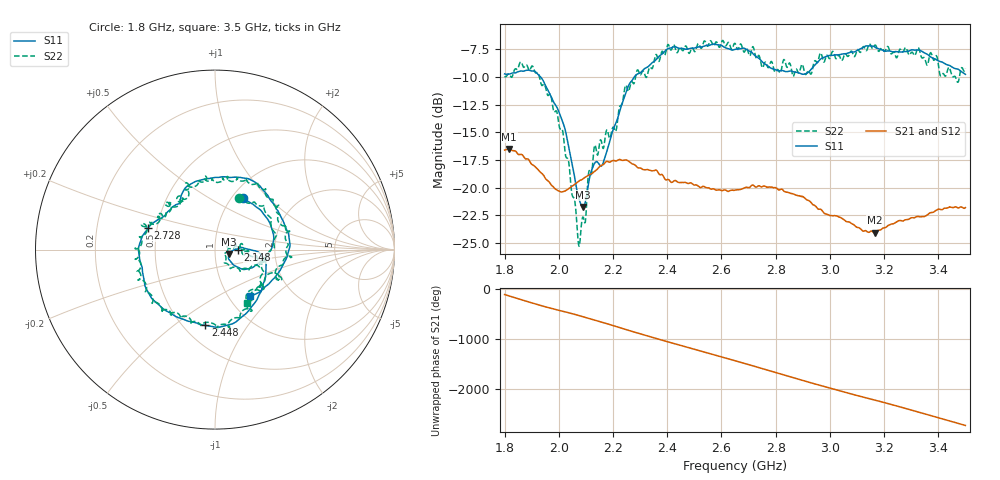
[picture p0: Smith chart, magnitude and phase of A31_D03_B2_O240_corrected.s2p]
! Created with skrf 1.9.0 (http://scikit-rf.org).
# Hz S RI R 50.0
!freq ReS11 ImS11 ReS21 ImS21 ReS12 ImS12 ReS22 ImS22
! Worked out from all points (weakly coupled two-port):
!   1601 points, 1.8 GHz to 3.5 GHz, reference 50 ohm
!   highest |S21| = -16.51 dB at 1.817 GHz (marker M1); lowest = -24.0 dB at 3.165 GHz (marker M2)
!   lowest |S11| = -21.7 dB at 2.09 GHz (marker M3), VSWR 1.18, Z = 58.4 - j2.79 ohm
!   |S11| at or under -10 dB: 1.933 GHz to 2.279 GHz (346.2 MHz wide, 16.4 % of centre)
!   |S22| runs from -25.3 to -6.7 dB; largest |S21 - S12| = 0.0026
!   S11 on the Smith chart (normalised r, x): 1.8 GHz: 1.12, +0.72; 2.148 GHz: 1.29, -0.00; 2.448 GHz: 0.63, -0.65; 2.728 GHz: 0.45, +0.13; 3.5 GHz: 1.25, -0.73
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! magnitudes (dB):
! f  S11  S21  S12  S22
! 1.8 GHz  -9.7  -16.6  -16.6  -9.9
! 1.817 GHz  -9.7  -16.5  -16.5  -9.8
! 1.903 GHz  -9.5  -17.9  -17.9  -9.0
! 1.968 GHz  -11.6  -19.6  -19.6  -11.5
! 2.015 GHz  -14.1  -20.4  -20.4  -14.9
! 2.072 GHz  -20.8  -19.4  -19.5  -25.0
! 2.084 GHz  -21.6  -19.3  -19.2  -23.2
! 2.09 GHz  -21.7  -19.2  -19.2  -22.7
! 2.113 GHz  -19.1  -18.8  -18.8  -18.5
! 2.148 GHz  -17.9  -18.2  -18.2  -16.3
! 2.209 GHz  -14.2  -17.6  -17.5  -14.9
! 2.26 GHz  -10.6  -17.7  -17.7  -11.1
! 2.367 GHz  -8.2  -18.7  -18.6  -8.6
! 2.448 GHz  -7.4  -19.5  -19.5  -7.3
! 2.65 GHz  -7.5  -20.2  -20.2  -7.0
! 2.728 GHz  -8.2  -20.0  -20.0  -8.3
! 2.934 GHz  -9.2  -21.4  -21.4  -9.6
! 3.165 GHz  -7.3  -24.0  -24.0  -7.1
! 3.217 GHz  -7.7  -23.4  -23.3  -7.4
! 3.376 GHz  -8.3  -22.2  -22.2  -8.0
! 3.468 GHz  -9.3  -21.8  -21.8  -10.3
! 3.5 GHz  -9.8  -21.8  -21.8  -9.2
